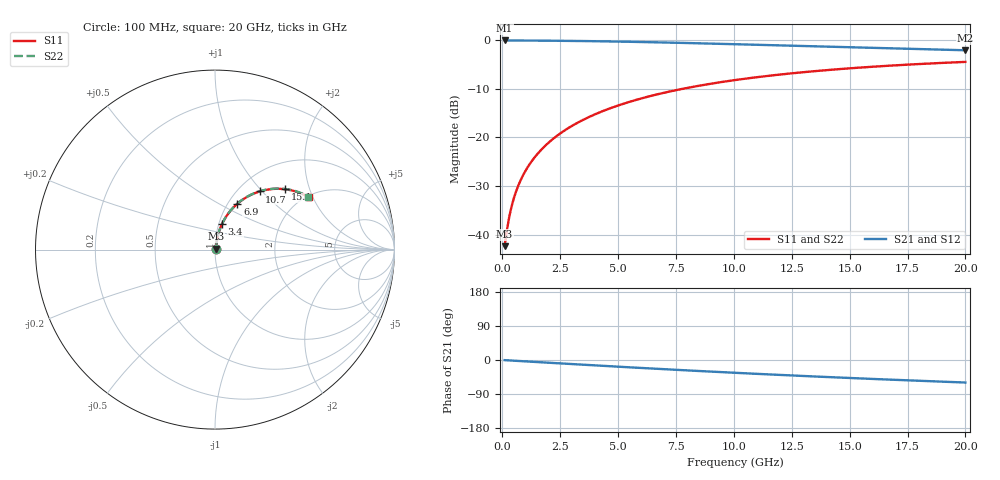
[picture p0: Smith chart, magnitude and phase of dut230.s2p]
! Touchstone file exported from HFSS 2026.1.0
!  File:  C:/ffzhzh/LocalFiles/Ansys_Project_Files/temp_train_BSMRDL_230_1782988212_6248.aedt
!  Generated:  06:31:38 PM Jul  2, 2026
!  Design:  BSMRDL
!  Project:  temp_train_BSMRDL_230_1782988212_6248
! Variables:
!  h_bsmrdl = 2.96um
!  h_ox = 20um
!  h_rdl = 5um
!  h_sub = 80um
!  h_tmrdl = 5um
!  h_tsv = 80um
!  h_via = 3um
!  l_bsmrdl = 856.51um
!  l_sub = 1256.51um
!  l_tmrdl = 200um
!  m_sub = 200um
!  pitch = 58.74um
!  r_tsv = 6um
!  s_tmrdl = 10um
!  w_bsmrdl = 17.27um
!  w_sub = 500um
!  w_tmrdl = 12um
!  x_tsv_center1 = 206um
!  x_tsv_center2 = 1079.78um
!  x_tsv_center3 = 1291.78um
!  x_tsv_center4 = 2165.56um
!  x_tsv_center5 = 2377.56um
!  x_tsv_center6 = 3251.34um
# GHz S MA R 50.000000
! Terminal data exported
! Port[1] = BSM_RDL1_1_T1
! Port[2] = BSM_RDL1_1_T2
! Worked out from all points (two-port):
!   200 points, 100 MHz to 20 GHz, reference 50 ohm
!   highest |S21| = -0.05 dB at 100 MHz (marker M1); lowest = -2.1 dB at 20 GHz (marker M2)
!   |S21| within 3 dB of the highest: start of sweep to end of sweep
!   lowest |S11| = -42.4 dB at 100 MHz (marker M3), VSWR 1.02, Z = 50.6 + j0.469 ohm
!   |S11| at or under -10 dB: start of sweep to 7.789 GHz
!   |S22| runs from -42.4 to -4.5 dB; largest |S21 - S12| = 3.4e-15
!   S11 on the Smith chart (normalised r, x): 100 MHz: 1.01, +0.01; 3.4 GHz: 1.04, +0.30; 6.9 GHz: 1.11, +0.62; 10.7 GHz: 1.24, +0.97; 15.1 GHz: 1.52, +1.39; 20 GHz: 2.05, +1.86
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0.1  0.007612 37.5  0.994 -0.4  0.994 -0.4  0.007612 37.5
! Gamma 0 0 0 0
! Port Impedance 50 0 50 0
0.2  0.01114 55.9  0.9938 -0.7  0.9938 -0.7  0.01114 55.9
0.3  0.01523 64.5  0.9936 -1.1  0.9936 -1.1  0.01523 64.5
0.4  0.01947 69.1  0.9934 -1.5  0.9934 -1.5  0.01947 69.1
0.5  0.02376 71.9  0.9931 -1.8  0.9931 -1.8  0.02375 71.9
0.6  0.02805 73.8  0.9929 -2.2  0.9929 -2.2  0.02805 73.8
0.8  0.03665 76.1  0.9923 -2.9  0.9923 -2.9  0.03665 76.1
1.1  0.04959 77.6  0.9916 -4.0  0.9916 -4.0  0.04958 77.6
1.5  0.06686 78.2  0.9904 -5.4  0.9904 -5.4  0.06686 78.2
2  0.08842 77.8  0.9885 -7.2  0.9885 -7.2  0.08841 77.9
2.6  0.1141 76.7  0.9856 -9.3  0.9856 -9.3  0.1141 76.7
3.4  0.1479 74.6  0.9808 -12.1  0.9808 -12.1  0.1479 74.7
3.5  0.152 74.4  0.9801 -12.5  0.9801 -12.5  0.152 74.4
5  0.213 69.9  0.968 -17.6  0.968 -17.6  0.213 69.9
6.8  0.2813 64.2  0.9495 -23.6  0.9495 -23.6  0.2813 64.4
6.9  0.2849 63.9  0.9484 -24.0  0.9484 -24.0  0.2849 64.0
10.1  0.3905 54.2  0.9088 -33.9  0.9088 -33.9  0.3904 54.4
10.7  0.408 52.5  0.9009 -35.7  0.9009 -35.7  0.408 52.7
13.4  0.4783 45.1  0.8653 -43.3  0.8653 -43.3  0.4783 45.3
15.1  0.5158 40.7  0.8435 -47.7  0.8435 -47.7  0.5157 41.0
16.7  0.5466 36.7  0.824 -51.7  0.824 -51.7  0.5466 37.0
20  0.5982 29.2  0.7879 -59.4  0.7879 -59.4  0.5982 29.5
